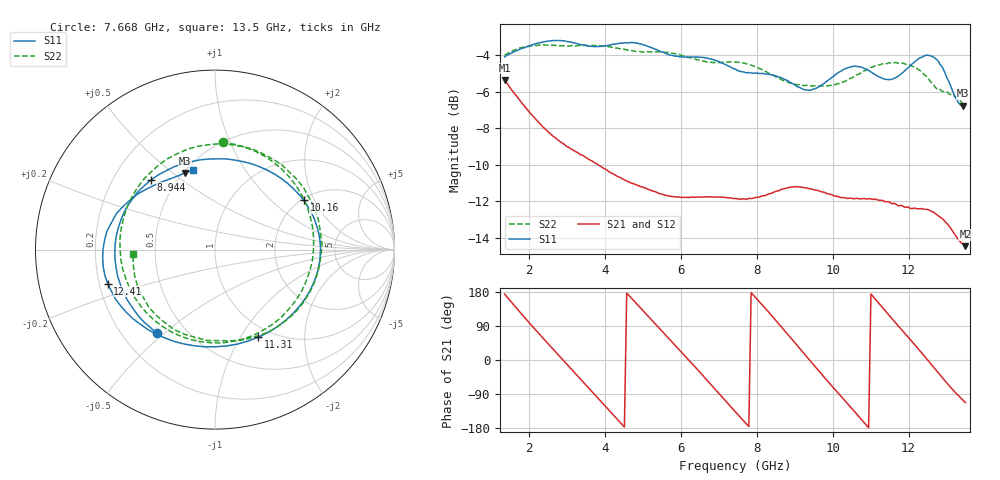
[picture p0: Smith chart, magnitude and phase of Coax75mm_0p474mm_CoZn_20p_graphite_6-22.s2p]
!Agilent Technologies,N5230C,MY48100320,A.08.04.10
!Agilent N5230C: A.08.04.10
!Date: Tuesday, August 23, 2016 04:13:50
!Correction: S11(Full 2 Port(1,2))
!S21(Full 2 Port(1,2))
!S12(Full 2 Port(1,2))
!S22(Full 2 Port(1,2))
!S2P File: Measurements: S11, S21, S12, S22:
# Hz S  dB  R 50
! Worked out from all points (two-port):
!   201 points, 1.35 GHz to 13.5 GHz, reference 50 ohm
!   highest |S21| = -5.36 dB at 1.35 GHz (marker M1); lowest = -14.5 dB at 13.5 GHz (marker M2)
!   |S21| within 3 dB of the highest: start of sweep to 2.585 GHz
!   lowest |S11| = -6.8 dB at 13.44 GHz (marker M3), VSWR 2.70, Z = 25.5 + j27.6 ohm
!   |S11| at or under -10 dB: nowhere
!   |S22| runs from -6.8 to -3.4 dB; largest |S21 - S12| = 0.0011
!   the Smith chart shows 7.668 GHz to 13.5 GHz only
!   S11 on the Smith chart (normalised r, x): 7.668 GHz: 0.34, -0.47; 8.944 GHz: 0.36, +0.39; 10.16 GHz: 2.06, +1.66; 11.31 GHz: 0.86, -1.20; 12.41 GHz: 0.23, -0.15; 13.5 GHz: 0.54, +0.61
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1.35027e9  -4.10 85.7  -5.36 174.0  -5.37 174.0  -4.02 56.8
1.957756e9  -3.52 23.3  -7.00 103.0  -7.01 103.1  -3.53 -12.4
2.565243e9  -3.22 -32.1  -8.32 35.5  -8.33 35.5  -3.46 -81.9
3.415724e9  -3.45 -105.0  -9.49 -57.5  -9.51 -57.5  -3.49 -179.9
4.326954e9  -3.38 166.6  -10.65 -157.3  -10.66 -157.3  -3.62 85.6
4.93444e9  -3.39 117.0  -11.19 137.3  -11.18 137.3  -3.81 18.3
5.42043e9  -3.77 76.0  -11.57 84.7  -11.58 84.7  -3.82 -34.9
6.027916e9  -4.10 19.2  -11.78 19.5  -11.79 19.5  -4.03 -96.6
6.635403e9  -4.14 -35.4  -11.76 -47.3  -11.77 -47.3  -4.36 -162.3
7.425135e9  -4.77 -104.1  -11.85 -135.7  -11.85 -135.7  -4.39 110.7
7.66813e9  -4.93 -124.9  -11.87 -162.3  -11.88 -162.2  -4.44 86.0
8.336365e9  -5.06 -178.6  -11.58 123.8  -11.59 123.8  -5.01 19.1
8.943851e9  -5.56 132.4  -11.22 52.9  -11.22 52.9  -5.54 -45.9
9.490589e9  -5.86 82.9  -11.36 -11.8  -11.37 -11.6  -5.68 -105.1
1.015882e10  -4.94 29.0  -11.75 -88.8  -11.75 -88.7  -5.56 -174.0
1.131305e10  -5.28 -63.7  -11.94 138.5  -11.94 138.6  -4.47 69.9
1.149529e10  -5.34 -83.2  -12.04 117.2  -12.03 117.3  -4.41 52.4
1.198128e10  -4.70 -130.3  -12.30 61.5  -12.30 61.6  -4.48 3.1
1.240652e10  -4.05 -162.5  -12.44 11.9  -12.44 11.9  -5.06 -45.5
1.295326e10  -4.93 155.0  -13.08 -53.8  -13.08 -53.8  -6.00 -109.6
1.343925e10  -6.76 111.5  -14.34 -106.4  -14.34 -106.4  -6.69 -169.6
1.35e10  -6.76 105.4  -14.45 -112.2  -14.46 -112.3  -6.80 -177.3
